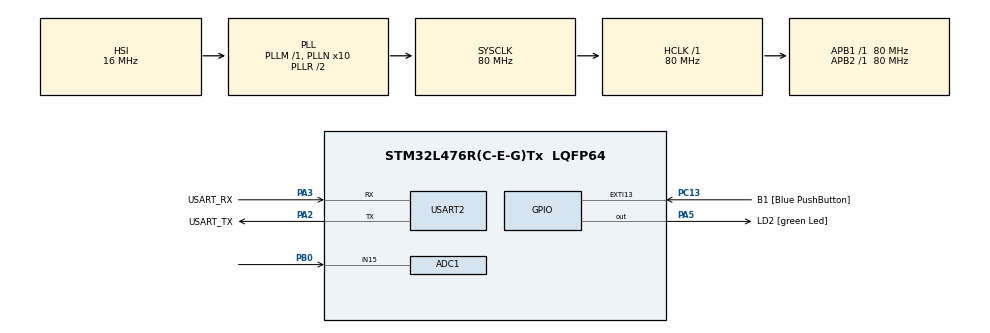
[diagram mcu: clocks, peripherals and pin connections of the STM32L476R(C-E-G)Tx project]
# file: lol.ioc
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ADC1.Channel-1\#ChannelRegularConversion=ADC_CHANNEL_15
ADC1.NbrOfConversionFlag=1
ADC1.OffsetNumber-1\#ChannelRegularConversion=ADC_OFFSET_NONE
ADC1.Rank-1\#ChannelRegularConversion=1
ADC1.SamplingTime-1\#ChannelRegularConversion=ADC_SAMPLETIME_92CYCLES_5
ADC1.master=1
Mcu.Family=STM32L4
Mcu.Name=STM32L476R(C-E-G)Tx
Mcu.Package=LQFP64
NVIC.ADC1_2_IRQn=true\:0\:0\:false\:false\:true\:true\:true
NVIC.PriorityGroup=NVIC_PRIORITYGROUP_4
PA13\ (JTMS-SWDIO).GPIO_Label=TMS
PA13\ (JTMS-SWDIO).Mode=Serial_Wire
PA13\ (JTMS-SWDIO).Signal=SYS_JTMS-SWDIO
PA14\ (JTCK-SWCLK).GPIO_Label=TCK
PA14\ (JTCK-SWCLK).Mode=Serial_Wire
PA14\ (JTCK-SWCLK).Signal=SYS_JTCK-SWCLK
PA2.GPIO_Label=USART_TX
PA2.GPIO_Mode=GPIO_MODE_AF_PP
PA2.GPIO_PuPd=GPIO_NOPULL
PA2.GPIO_Speed=GPIO_SPEED_FREQ_VERY_HIGH
PA2.Mode=Asynchronous
PA2.Signal=USART2_TX
PA3.GPIO_Label=USART_RX
PA3.GPIO_Mode=GPIO_MODE_AF_PP
PA3.GPIO_PuPd=GPIO_NOPULL
PA3.GPIO_Speed=GPIO_SPEED_FREQ_VERY_HIGH
PA3.Mode=Asynchronous
PA3.Signal=USART2_RX
PA5.GPIO_Label=LD2 [green Led]
PA5.GPIO_ModeDefaultOutputPP=GPIO_MODE_OUTPUT_PP
PA5.GPIO_PuPd=GPIO_NOPULL
PA5.GPIO_Speed=GPIO_SPEED_FREQ_LOW
PA5.Signal=GPIO_Output
PB0.Signal=ADCx_IN15
PB3\ (JTDO-TRACESWO).GPIO_Label=SWO
PB3\ (JTDO-TRACESWO).Signal=SYS_JTDO-SWO
PC13.GPIO_Label=B1 [Blue PushButton]
PC13.GPIO_ModeDefaultEXTI=GPIO_MODE_IT_FALLING
PC13.GPIO_PuPd=GPIO_NOPULL
PC13.Signal=GPXTI13
PC14-OSC32_IN\ (PC14).Mode=LSE-External-Oscillator
PC14-OSC32_IN\ (PC14).Signal=RCC_OSC32_IN
PC15-OSC32_OUT\ (PC15).Mode=LSE-External-Oscillator
PC15-OSC32_OUT\ (PC15).Signal=RCC_OSC32_OUT
PH0-OSC_IN\ (PH0).Signal=RCC_OSC_IN
PH1-OSC_OUT\ (PH1).Signal=RCC_OSC_OUT
ProjectManager.HeapSize=0x200
ProjectManager.StackSize=0x400
ProjectManager.TargetToolchain=STM32CubeIDE
RCC.ADCFreq_Value=64000000
RCC.AHBFreq_Value=80000000
RCC.APB1Freq_Value=80000000
RCC.APB1TimFreq_Value=80000000
RCC.APB2Freq_Value=80000000
RCC.APB2TimFreq_Value=80000000
RCC.CortexFreq_Value=80000000
RCC.HCLKFreq_Value=80000000
RCC.HSE_VALUE=8000000
RCC.HSI_VALUE=16000000
RCC.MSI_VALUE=4000000
RCC.PLLN=10
RCC.PLLSourceVirtual=RCC_PLLSOURCE_HSI
RCC.PREFETCH_ENABLE=1
RCC.SYSCLKFreq_VALUE=80000000
RCC.SYSCLKSource=RCC_SYSCLKSOURCE_PLLCLK
RCC.USBFreq_Value=64000000
RCC.VCOOutputFreq_Value=160000000
SH.ADCx_IN15.0=ADC1_IN15,IN15-Single-Ended
USART2.VirtualMode-Asynchronous=VM_ASYNC
board=NUCLEO-L476RG

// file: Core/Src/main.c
/* USER CODE BEGIN Header */
/**
  ******************************************************************************
  * @file           : main.c
  * @brief          : Main program body
  ******************************************************************************
  * @attention
  *
  * <h2><center>&copy; Copyright (c) 2022 STMicroelectronics.
  * All rights reserved.</center></h2>
  *
  * This software component is licensed by ST under BSD 3-Clause license,
  * the "License"; You may not use this file except in compliance with the
  * License. You may obtain a copy of the License at:
  *                        opensource.org/licenses/BSD-3-Clause
  *
  ******************************************************************************
  */
/* USER CODE END Header */
#include "main.h"
#include "adc.h"
#include "usart.h"
#include "gpio.h"

/* USER CODE BEGIN Includes */
#include "stdio.h"
/* USER CODE END Includes */

/* USER CODE BEGIN PV */
volatile uint16_t adc_value;
volatile uint8_t adc_flag;
/* USER CODE END PV */

void SystemClock_Config(void);
/* USER CODE BEGIN PFP */
int _write(int file, char *ptr, int len);
/* USER CODE END PFP */

/* USER CODE BEGIN 0 */

void HAL_ADC_ConvCpltCallback(ADC_HandleTypeDef *hadc) {
	if(hadc == &hadc1) {
		adc_value = HAL_ADC_GetValue(hadc);
		adc_flag = 1;
	}
}

/* USER CODE END 0 */

int main(void)
{

  /* MCU Configuration--------------------------------------------------------*/

  /* Reset of all peripherals, Initializes the Flash interface and the Systick. */
  HAL_Init();

  /* Configure the system clock */
  SystemClock_Config();

  /* Initialize all configured peripherals */
  MX_GPIO_Init();
  MX_USART2_UART_Init();
  MX_ADC1_Init();
  /* USER CODE BEGIN 2 */

  HAL_ADC_Start_IT(&hadc1);

  /* USER CODE END 2 */

  /* Infinite loop */
  /* USER CODE BEGIN WHILE */
  while (1)
  {
	  if(adc_flag == 1){
		  printf("Zmierzona wartosc to %d\r\n", adc_value);
		  adc_flag = 0;

		  HAL_ADC_Start_IT(&hadc1);
	  }
	  HAL_Delay(1000);

    /* USER CODE END WHILE */

  }
}

void SystemClock_Config(void)
{
  RCC_OscInitTypeDef RCC_OscInitStruct = {0};
  RCC_ClkInitTypeDef RCC_ClkInitStruct = {0};
  RCC_PeriphCLKInitTypeDef PeriphClkInit = {0};

  /** Initializes the RCC Oscillators according to the specified parameters
  * in the RCC_OscInitTypeDef structure.
  */
  RCC_OscInitStruct.OscillatorType = RCC_OSCILLATORTYPE_HSI;
  RCC_OscInitStruct.HSIState = RCC_HSI_ON;
  RCC_OscInitStruct.HSICalibrationValue = RCC_HSICALIBRATION_DEFAULT;
  RCC_OscInitStruct.PLL.PLLState = RCC_PLL_ON;
  RCC_OscInitStruct.PLL.PLLSource = RCC_PLLSOURCE_HSI;
  RCC_OscInitStruct.PLL.PLLM = 1;
  RCC_OscInitStruct.PLL.PLLN = 10;
  RCC_OscInitStruct.PLL.PLLP = RCC_PLLP_DIV7;
  RCC_OscInitStruct.PLL.PLLQ = RCC_PLLQ_DIV2;
  RCC_OscInitStruct.PLL.PLLR = RCC_PLLR_DIV2;
  if (HAL_RCC_OscConfig(&RCC_OscInitStruct) != HAL_OK)
  {
    Error_Handler();
  }
  /** Initializes the CPU, AHB and APB buses clocks
  */
  RCC_ClkInitStruct.ClockType = RCC_CLOCKTYPE_HCLK|RCC_CLOCKTYPE_SYSCLK
                              |RCC_CLOCKTYPE_PCLK1|RCC_CLOCKTYPE_PCLK2;
  RCC_ClkInitStruct.SYSCLKSource = RCC_SYSCLKSOURCE_PLLCLK;
  RCC_ClkInitStruct.AHBCLKDivider = RCC_SYSCLK_DIV1;
  RCC_ClkInitStruct.APB1CLKDivider = RCC_HCLK_DIV1;
  RCC_ClkInitStruct.APB2CLKDivider = RCC_HCLK_DIV1;

  if (HAL_RCC_ClockConfig(&RCC_ClkInitStruct, FLASH_LATENCY_4) != HAL_OK)
  {
    Error_Handler();
  }
  PeriphClkInit.PeriphClockSelection = RCC_PERIPHCLK_USART2|RCC_PERIPHCLK_ADC;
  PeriphClkInit.Usart2ClockSelection = RCC_USART2CLKSOURCE_PCLK1;
  PeriphClkInit.AdcClockSelection = RCC_ADCCLKSOURCE_PLLSAI1;
  PeriphClkInit.PLLSAI1.PLLSAI1Source = RCC_PLLSOURCE_HSI;
  PeriphClkInit.PLLSAI1.PLLSAI1M = 1;
  PeriphClkInit.PLLSAI1.PLLSAI1N = 8;
  PeriphClkInit.PLLSAI1.PLLSAI1P = RCC_PLLP_DIV7;
  PeriphClkInit.PLLSAI1.PLLSAI1Q = RCC_PLLQ_DIV2;
  PeriphClkInit.PLLSAI1.PLLSAI1R = RCC_PLLR_DIV2;
  PeriphClkInit.PLLSAI1.PLLSAI1ClockOut = RCC_PLLSAI1_ADC1CLK;
  if (HAL_RCCEx_PeriphCLKConfig(&PeriphClkInit) != HAL_OK)
  {
    Error_Handler();
  }
  /** Configure the main internal regulator output voltage
  */
  if (HAL_PWREx_ControlVoltageScaling(PWR_REGULATOR_VOLTAGE_SCALE1) != HAL_OK)
  {
    Error_Handler();
  }
}

/* USER CODE BEGIN 4 */

int _write(int file, char *ptr, int len){

	  if(HAL_UART_Transmit(&huart2, (uint8_t *) ptr, len, 100) != HAL_OK){
		  Error_Handler();
	  }

	return len;
}

/* USER CODE END 4 */

void Error_Handler(void)
{
}

/************************ (C) COPYRIGHT STMicroelectronics *****END OF FILE****/
